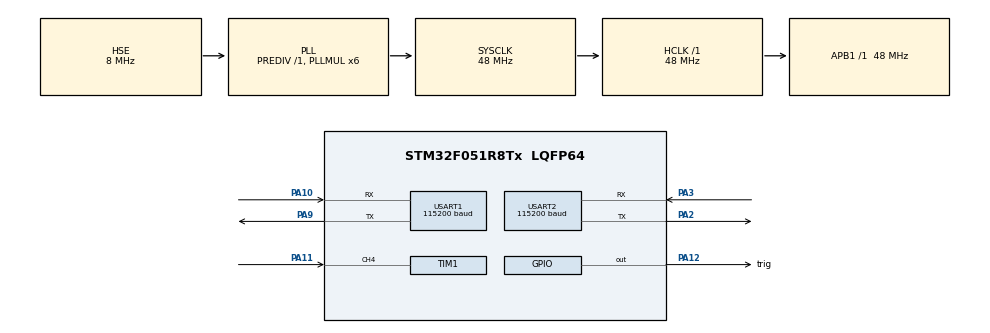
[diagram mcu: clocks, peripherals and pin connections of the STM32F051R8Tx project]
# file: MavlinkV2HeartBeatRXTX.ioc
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Mcu.Family=STM32F0
Mcu.Name=STM32F051R8Tx
Mcu.Package=LQFP64
NVIC.TIM1_CC_IRQn=true\:0\:0\:false\:false\:true\:true\:true\:true
NVIC.USART1_IRQn=true\:0\:0\:false\:false\:true\:true\:true\:true
NVIC.USART2_IRQn=true\:0\:0\:false\:false\:true\:true\:true\:true
PA10.Mode=Asynchronous
PA10.Signal=USART1_RX
PA11.Signal=S_TIM1_CH4
PA12.GPIO_Label=trig
PA12.Signal=GPIO_Output
PA13.Mode=Serial_Wire
PA13.Signal=SYS_SWDIO
PA14.Mode=Serial_Wire
PA14.Signal=SYS_SWCLK
PA2.Mode=Asynchronous
PA2.Signal=USART2_TX
PA3.Mode=Asynchronous
PA3.Signal=USART2_RX
PA9.Mode=Asynchronous
PA9.Signal=USART1_TX
PF0-OSC_IN.Mode=HSE-External-Oscillator
PF0-OSC_IN.Signal=RCC_OSC_IN
PF1-OSC_OUT.Mode=HSE-External-Oscillator
PF1-OSC_OUT.Signal=RCC_OSC_OUT
ProjectManager.HeapSize=0x200
ProjectManager.StackSize=0x400
ProjectManager.TargetToolchain=STM32CubeIDE
RCC.AHBFreq_Value=48000000
RCC.APB1Freq_Value=48000000
RCC.APB1TimFreq_Value=48000000
RCC.HCLKFreq_Value=48000000
RCC.PLLMUL=RCC_PLL_MUL6
RCC.PLLSourceVirtual=RCC_PLLSOURCE_HSE
RCC.SYSCLKFreq_VALUE=48000000
RCC.SYSCLKSource=RCC_SYSCLKSOURCE_PLLCLK
SH.S_TIM1_CH4.0=TIM1_CH4,Input_Capture4_from_TI4
TIM1.Channel-Input_Capture4_from_TI4=TIM_CHANNEL_4
TIM1.Prescaler=48-1
USART1.BaudRate=115200
USART1.VirtualMode-Asynchronous=VM_ASYNC
USART2.BaudRate=115200
USART2.VirtualMode-Asynchronous=VM_ASYNC
board=custom

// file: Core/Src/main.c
/* USER CODE BEGIN Header */
/**
  ******************************************************************************
  * @file           : main.c
  * @brief          : Main program body
  ******************************************************************************
  * @attention
  *
  * Copyright (c) 2026 STMicroelectronics.
  * All rights reserved.
  *
  * This software is licensed under terms that can be found in the LICENSE file
  * in the root directory of this software component.
  * If no LICENSE file comes with this software, it is provided AS-IS.
  *
  ******************************************************************************
  */
/* USER CODE END Header */
#include "main.h"

/* USER CODE BEGIN Includes */
#include<stdio.h>
#include"mavlink.h"
#include<stdint.h>
#include"ring_buffer.h"
#include"optical_flow.h"
#include"common.h"

/* USER CODE END Includes */

TIM_HandleTypeDef htim1;

UART_HandleTypeDef huart1;
UART_HandleTypeDef huart2;

void SystemClock_Config(void);
static void MX_GPIO_Init(void);
static void MX_USART1_UART_Init(void);
static void MX_USART2_UART_Init(void);
static void MX_TIM1_Init(void);

/* USER CODE BEGIN 0 */
#define RX_BUF_SIZE 256
uint8_t byte_buf[RX_BUF_SIZE];

mavlink_message_t msg;
mavlink_heartbeat_t hb;
mavlink_status_t status;
OpticalFlowData flow;

uint32_t IC_Val1 = 0;
uint32_t IC_Val2 = 0;
uint32_t Difference = 0;
uint32_t Is_First_Captured = 0;
uint8_t Distance = 0;

#define TRIG_PIN GPIO_PIN_12
#define TRIG_PORT GPIOA

//The best view of data
void uart_send_uint(UART_HandleTypeDef *huart, uint32_t num)
{
    char buf[10];
    int i = 0;

    if (num == 0)
    {
        char c = '0';
        HAL_UART_Transmit(huart, (uint8_t*)&c, 1, 10);
        return;
    }

    while (num > 0)
    {
        buf[i++] = (num % 10) + '0';
        num /= 10;
    }

    for (int j = i - 1; j >= 0; j--)
    {
        HAL_UART_Transmit(huart, (uint8_t*)&buf[j], 1, 10);
    }
}
void print_heartbeat(UART_HandleTypeDef *huart, mavlink_heartbeat_t *hb)
{
    char txt1[] = "SYS:";
    HAL_UART_Transmit(huart, (uint8_t*)txt1, sizeof(txt1)-1, 10);

    uart_send_uint(huart, hb->type);

    char txt2[] = " MODE:";
    HAL_UART_Transmit(huart, (uint8_t*)txt2, sizeof(txt2)-1, 10);

    uart_send_uint(huart, hb->base_mode);

    char txt3[] = " Version:";
        HAL_UART_Transmit(huart, (uint8_t*)txt3, sizeof(txt3)-1, 10);

        uart_send_uint(huart, hb->mavlink_version);
    char txt4[] = " SYSSTAT:";
               HAL_UART_Transmit(huart, (uint8_t*)txt4, sizeof(txt4)-1, 10);

               uart_send_uint(huart, hb->mavlink_version);
    char txt5[] = " CUST_MODE:";
         HAL_UART_Transmit(huart, (uint8_t*)txt5, sizeof(txt5)-1, 10);

         uart_send_uint(huart, hb->custom_mode);
   char txt6[] = " autopilot:";
         HAL_UART_Transmit(huart, (uint8_t*)txt6, sizeof(txt6)-1, 10);

         uart_send_uint(huart, hb->autopilot);

    char nl[] = "\r\n";
    HAL_UART_Transmit(huart, (uint8_t*)nl, sizeof(nl)-1, 10);
}

//MavLink Byte Parse
void process_byte(uint8_t byte)
{

    if (mavlink_parse_char(MAVLINK_COMM_0, byte, &msg, &status))
    {

        if (msg.msgid == MAVLINK_MSG_ID_HEARTBEAT)
        {
            mavlink_msg_heartbeat_decode(&msg, &hb);
            //print_heartbeat(&huart2, &hb);

        }

    }

}

//Interrupt method
void HAL_UART_RxCpltCallback(UART_HandleTypeDef *huart){
	if (huart->Instance == USART1){
		for(int i =0; i<RX_BUF_SIZE;i++)
			process_byte(byte_buf[i]);
		HAL_UART_Receive_IT(&huart1, byte_buf, RX_BUF_SIZE);
	}
	if (huart->Instance == USART2){
		OF_UartRXCpltCallback();
	}
}

void HAL_TIM_IC_CaptureCallback(TIM_HandleTypeDef *htim){
	if(htim->Channel == HAL_TIM_ACTIVE_CHANNEL_4){
		if(Is_First_Captured ==0){
			IC_Val1 = HAL_TIM_ReadCapturedValue(htim, TIM_CHANNEL_4);
			Is_First_Captured = 1;
			__HAL_TIM_SET_CAPTUREPOLARITY(htim,TIM_CHANNEL_4,TIM_INPUTCHANNELPOLARITY_FALLING);
		}
		else if(Is_First_Captured == 1){
			IC_Val2 = HAL_TIM_ReadCapturedValue(htim, TIM_CHANNEL_4);
			__HAL_TIM_SET_COUNTER(htim,0);
			if(IC_Val2>IC_Val1){
				Difference = IC_Val2 -IC_Val1;
			}
			else if(IC_Val2<IC_Val1){
				Difference = (0xffff - IC_Val1)+IC_Val2;
			}
			Distance = Difference * .034/2;
			Is_First_Captured = 0;
			__HAL_TIM_SET_CAPTUREPOLARITY(htim,TIM_CHANNEL_4,TIM_INPUTCHANNELPOLARITY_RISING);
			__HAL_TIM_DISABLE_IT(&htim1,TIM_IT_CC4);
		}
	}
}

void sendHeartBeat(mavlink_message_t *msge, UART_HandleTypeDef *huart){
	uint8_t buff[MAVLINK_MAX_PACKET_LEN];
	int len = mavlink_msg_to_send_buffer(buff, msge);
	if(!len) return;
	HAL_UART_Transmit(huart, buff, len,100);
}

void sendOpticalFlow(mavlink_message_t *msge, UART_HandleTypeDef *huart){
	uint8_t buff[MAVLINK_MAX_PACKET_LEN];
	int len = mavlink_msg_to_send_buffer(buff, msge);
	if(!len) return;
	HAL_UART_Transmit(huart, buff, len,100);
}

void Delay_ms(uint16_t time){
	__HAL_TIM_SET_COUNTER(&htim1, 0);
	while(__HAL_TIM_GET_COUNTER(&htim1)<time);
}

void HCSR04_Read(void){
	HAL_GPIO_WritePin(TRIG_PORT, TRIG_PIN, GPIO_PIN_SET);
	Delay_ms(10);
	HAL_GPIO_WritePin(TRIG_PORT, TRIG_PIN, GPIO_PIN_RESET);
	__HAL_TIM_ENABLE_IT(&htim1,TIM_IT_CC4);
}
/* USER CODE END 0 */

int main(void)
{

  /* MCU Configuration--------------------------------------------------------*/

  /* Reset of all peripherals, Initializes the Flash interface and the Systick. */
  HAL_Init();

  /* Configure the system clock */
  SystemClock_Config();

  /* Initialize all configured peripherals */
  MX_GPIO_Init();
  MX_USART1_UART_Init();
  MX_USART2_UART_Init();
  MX_TIM1_Init();
  /* USER CODE BEGIN 2 */
  //HAL_UART_Receive_IT(&huart1, byte_buf, RX_BUF_SIZE);
  HAL_TIM_IC_Start_IT(&htim1, TIM_CHANNEL_4);
  OF_Init(&huart2);
  /* USER CODE END 2 */

  /* Infinite loop */
  /* USER CODE BEGIN WHILE */
  mavlink_message_t messageH;
  mavlink_heartbeat_t heartbeat;

  mavlink_message_t messageO;
  mavlink_optical_flow_rad_t Optical;

  uint32_t lasttime = 0;
  uint32_t lasttime10 = 0;
  uint32_t lasttime200 = 0;
  while (1)
  {

	      uint32_t Time = HAL_GetTick();

		  if(Time-lasttime200 >=200){
			  lasttime200 +=200;
			  HCSR04_Read();

		  }

	  	  if(Time-lasttime >= 1000){
	  	  lasttime +=1000 ;

		  heartbeat.type = MAV_TYPE_ONBOARD_CONTROLLER;
		  heartbeat.autopilot = MAV_AUTOPILOT_INVALID;
		  heartbeat.base_mode = 0;
		  heartbeat.custom_mode = 0;
		  heartbeat.system_status = MAV_STATE_ACTIVE;
		  heartbeat.mavlink_version = 3;
		  mavlink_msg_heartbeat_encode(255, 0, &messageH, &heartbeat);
		  sendHeartBeat(&messageH, &huart1);

	  	  }

	  	  if(Time-lasttime10 >= 100){
	  		  lasttime10 += 100;
//	  		Optical.time_usec = HAL_GetTick() * 1000;
//	  		Optical.integration_time_us = 100000;
//	  		Optical.integrated_x = 0.02f;
//	  		Optical.integrated_y = 0.00f;
//	  		Optical.integrated_xgyro = 0.0f;
//	  		Optical.integrated_ygyro = 0.0f;
//	  		Optical.integrated_zgyro = 0.0f;

//
//	  		Optical.temperature = 25;
//
//	  		Optical.quality = 200;
	  		if(OF_GetData(&flow)){
	  			Optical.integrated_x = flow.px;
	  			Optical.integrated_y = flow.py;
	  			Optical.quality = flow.quality;
	  		}else {
//	  		    Optical.integrated_x = -1;
//	  		    Optical.integrated_y = -1;
//	  		    Optical.quality = -1;
	  		}
	  		Optical.distance = Distance;

	  		 mavlink_msg_optical_flow_rad_encode(255,0,&messageO,&Optical);
	  		 sendOpticalFlow(&messageO,&huart1);
	  	  }

    /* USER CODE END WHILE */

  }
}

void SystemClock_Config(void)
{
  RCC_OscInitTypeDef RCC_OscInitStruct = {0};
  RCC_ClkInitTypeDef RCC_ClkInitStruct = {0};
  RCC_PeriphCLKInitTypeDef PeriphClkInit = {0};

  /** Initializes the RCC Oscillators according to the specified parameters
  * in the RCC_OscInitTypeDef structure.
  */
  RCC_OscInitStruct.OscillatorType = RCC_OSCILLATORTYPE_HSE;
  RCC_OscInitStruct.HSEState = RCC_HSE_ON;
  RCC_OscInitStruct.PLL.PLLState = RCC_PLL_ON;
  RCC_OscInitStruct.PLL.PLLSource = RCC_PLLSOURCE_HSE;
  RCC_OscInitStruct.PLL.PLLMUL = RCC_PLL_MUL6;
  RCC_OscInitStruct.PLL.PREDIV = RCC_PREDIV_DIV1;
  if (HAL_RCC_OscConfig(&RCC_OscInitStruct) != HAL_OK)
  {
    Error_Handler();
  }

  /** Initializes the CPU, AHB and APB buses clocks
  */
  RCC_ClkInitStruct.ClockType = RCC_CLOCKTYPE_HCLK|RCC_CLOCKTYPE_SYSCLK
                              |RCC_CLOCKTYPE_PCLK1;
  RCC_ClkInitStruct.SYSCLKSource = RCC_SYSCLKSOURCE_PLLCLK;
  RCC_ClkInitStruct.AHBCLKDivider = RCC_SYSCLK_DIV1;
  RCC_ClkInitStruct.APB1CLKDivider = RCC_HCLK_DIV1;

  if (HAL_RCC_ClockConfig(&RCC_ClkInitStruct, FLASH_LATENCY_1) != HAL_OK)
  {
    Error_Handler();
  }
  PeriphClkInit.PeriphClockSelection = RCC_PERIPHCLK_USART1;
  PeriphClkInit.Usart1ClockSelection = RCC_USART1CLKSOURCE_PCLK1;
  if (HAL_RCCEx_PeriphCLKConfig(&PeriphClkInit) != HAL_OK)
  {
    Error_Handler();
  }
}

static void MX_TIM1_Init(void)
{

  TIM_MasterConfigTypeDef sMasterConfig = {0};
  TIM_IC_InitTypeDef sConfigIC = {0};

  htim1.Instance = TIM1;
  htim1.Init.Prescaler = 48-1;
  htim1.Init.CounterMode = TIM_COUNTERMODE_UP;
  htim1.Init.Period = 65535;
  htim1.Init.ClockDivision = TIM_CLOCKDIVISION_DIV1;
  htim1.Init.RepetitionCounter = 0;
  htim1.Init.AutoReloadPreload = TIM_AUTORELOAD_PRELOAD_DISABLE;
  if (HAL_TIM_IC_Init(&htim1) != HAL_OK)
  {
    Error_Handler();
  }
  sMasterConfig.MasterOutputTrigger = TIM_TRGO_RESET;
  sMasterConfig.MasterSlaveMode = TIM_MASTERSLAVEMODE_DISABLE;
  if (HAL_TIMEx_MasterConfigSynchronization(&htim1, &sMasterConfig) != HAL_OK)
  {
    Error_Handler();
  }
  sConfigIC.ICPolarity = TIM_INPUTCHANNELPOLARITY_RISING;
  sConfigIC.ICSelection = TIM_ICSELECTION_DIRECTTI;
  sConfigIC.ICPrescaler = TIM_ICPSC_DIV1;
  sConfigIC.ICFilter = 0;
  if (HAL_TIM_IC_ConfigChannel(&htim1, &sConfigIC, TIM_CHANNEL_4) != HAL_OK)
  {
    Error_Handler();
  }

}

static void MX_USART1_UART_Init(void)
{

  huart1.Instance = USART1;
  huart1.Init.BaudRate = 115200;
  huart1.Init.WordLength = UART_WORDLENGTH_8B;
  huart1.Init.StopBits = UART_STOPBITS_1;
  huart1.Init.Parity = UART_PARITY_NONE;
  huart1.Init.Mode = UART_MODE_TX_RX;
  huart1.Init.HwFlowCtl = UART_HWCONTROL_NONE;
  huart1.Init.OverSampling = UART_OVERSAMPLING_16;
  huart1.Init.OneBitSampling = UART_ONE_BIT_SAMPLE_DISABLE;
  huart1.AdvancedInit.AdvFeatureInit = UART_ADVFEATURE_NO_INIT;
  if (HAL_UART_Init(&huart1) != HAL_OK)
  {
    Error_Handler();
  }

}

static void MX_USART2_UART_Init(void)
{

  huart2.Instance = USART2;
  huart2.Init.BaudRate = 115200;
  huart2.Init.WordLength = UART_WORDLENGTH_8B;
  huart2.Init.StopBits = UART_STOPBITS_1;
  huart2.Init.Parity = UART_PARITY_NONE;
  huart2.Init.Mode = UART_MODE_TX_RX;
  huart2.Init.HwFlowCtl = UART_HWCONTROL_NONE;
  huart2.Init.OverSampling = UART_OVERSAMPLING_16;
  huart2.Init.OneBitSampling = UART_ONE_BIT_SAMPLE_DISABLE;
  huart2.AdvancedInit.AdvFeatureInit = UART_ADVFEATURE_NO_INIT;
  if (HAL_UART_Init(&huart2) != HAL_OK)
  {
    Error_Handler();
  }

}

static void MX_GPIO_Init(void)
{
  GPIO_InitTypeDef GPIO_InitStruct = {0};

  /* GPIO Ports Clock Enable */
  __HAL_RCC_GPIOF_CLK_ENABLE();
  __HAL_RCC_GPIOA_CLK_ENABLE();

  /*Configure GPIO pin Output Level */
  HAL_GPIO_WritePin(trig_GPIO_Port, trig_Pin, GPIO_PIN_RESET);

  /*Configure GPIO pin : trig_Pin */
  GPIO_InitStruct.Pin = trig_Pin;
  GPIO_InitStruct.Mode = GPIO_MODE_OUTPUT_PP;
  GPIO_InitStruct.Pull = GPIO_NOPULL;
  GPIO_InitStruct.Speed = GPIO_SPEED_FREQ_LOW;
  HAL_GPIO_Init(trig_GPIO_Port, &GPIO_InitStruct);

}

void Error_Handler(void)
{
  __disable_irq();
  while (1)
  {
  }
}
